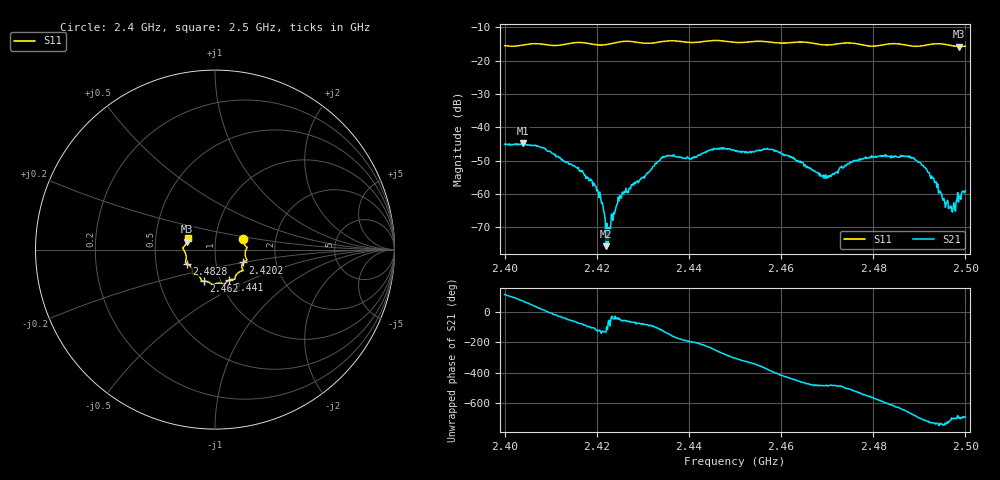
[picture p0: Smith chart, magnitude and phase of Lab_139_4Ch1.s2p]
# Hz S RI R 50
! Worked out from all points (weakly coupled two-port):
!   601 points, 2.4 GHz to 2.5 GHz, reference 50 ohm
!   highest |S21| = -44.81 dB at 2.404 GHz (marker M1); lowest = -75.6 dB at 2.422 GHz (marker M2)
!   lowest |S11| = -15.8 dB at 2.4987 GHz (marker M3), VSWR 1.39, Z = 36.3 + j3.25 ohm
!   |S11| at or under -10 dB: start of sweep to end of sweep
!   S12 and S22 are empty: the file has one direction only
!   S11 on the Smith chart (normalised r, x): 2.4 GHz: 1.36, +0.17; 2.4202 GHz: 1.35, -0.20; 2.441 GHz: 1.10, -0.39; 2.462 GHz: 0.83, -0.30; 2.4828 GHz: 0.72, -0.12; 2.5 GHz: 0.73, +0.09
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2.4e9  0.1567 0.0607  -0.00232 0.00509  0 0  0 0
2.404e9  0.171 0.0195  0.00174 0.00548  0 0  0 0
2.408333e9  0.1767 0.00585  0.00485 0.00121  0 0  0 0
2.416667e9  0.1776 -0.0591  0.000497 -0.0021  0 0  0 0
2.420167e9  0.1566 -0.0719  -0.000686 -0.000929  0 0  0 0
2.421167e9  0.1515 -0.0807  -0.000456 -0.000594  0 0  0 0
2.422e9  0.1495 -0.0887  -0.000114 -0.00012  0 0  0 0
2.4225e9  0.1492 -0.0939  7.24e-05 -0.00015  0 0  0 0
2.425167e9  0.1552 -0.1138  0.000551 -0.000685  0 0  0 0
2.433333e9  0.1126 -0.152  -0.001 -0.00293  0 0  0 0
2.441e9  0.0773 -0.1706  -0.00339 0.00122  0 0  0 0
2.45e9  0.0271 -0.1864  0.00253 0.00372  0 0  0 0
2.462e9  -0.0617 -0.176  0.000717 -0.00347  0 0  0 0
2.466667e9  -0.0773 -0.1673  -0.00109 -0.00202  0 0  0 0
2.470333e9  -0.0991 -0.1408  -0.00109 -0.00152  0 0  0 0
2.4755e9  -0.1264 -0.1328  -0.00273 -0.0013  0 0  0 0
2.482833e9  -0.1581 -0.0778  -0.00173 0.00318  0 0  0 0
2.483333e9  -0.1608 -0.0765  -0.00147 0.00337  0 0  0 0
2.490333e9  -0.1651 -0.0189  0.00279 0.000812  0 0  0 0
2.496833e9  -0.1677 0.0231  0.000659 8.34e-05  0 0  0 0
2.498667e9  -0.1568 0.0435  0.000839 0.000401  0 0  0 0
2.5e9  -0.153 0.062  0.000997 0.000526  0 0  0 0
